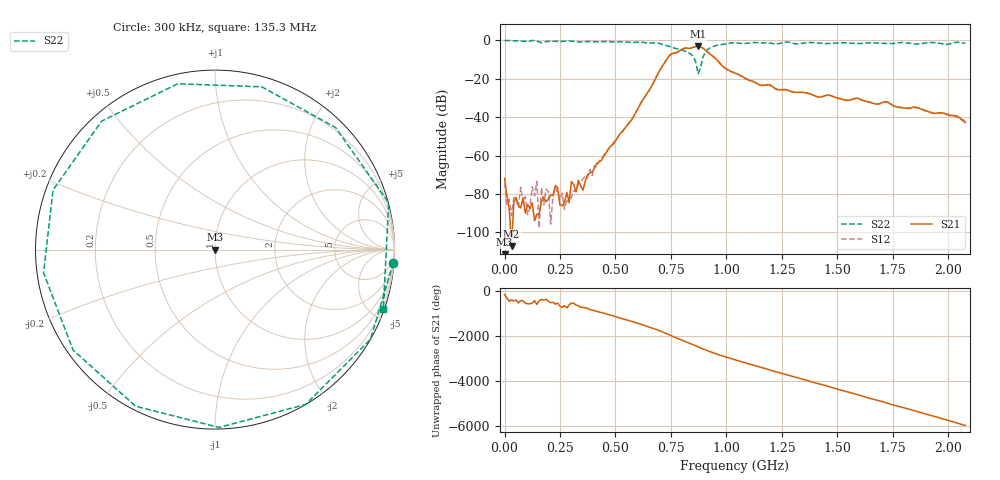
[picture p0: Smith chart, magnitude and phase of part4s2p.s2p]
!Agilent Technologies,N5230C,MY48100348,A.08.04.10
!Agilent N5230C: A.08.04.10
!Date: Saturday, November 08, 2025 09:29:41
!Correction: S11(Off)
!S21(Off)
!S12(Off)
!S22(Off)
!S2P File: Measurements: S11, S21, S12, S22:
# Hz S  dB  R 50
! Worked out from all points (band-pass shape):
!   201 points, 300 kHz to 2.077 GHz, reference 50 ohm
!   highest |S21| = -2.98 dB at 872.4 MHz (marker M1); lowest = -107.2 dB at 31.45 MHz (marker M2)
!   |S21| within 3 dB of the highest: 781.5 MHz to 913.9 MHz (132.4 MHz wide, 15.6 % of centre)
!   lowest |S11| = - dB at 300 kHz (marker M3), VSWR 1.00, Z = 50 + j7.07e-09 ohm
!   |S11| at or under -10 dB: start of sweep to end of sweep
!   |S22| runs from -17.4 to 0.0 dB; largest |S21 - S12| = 0.047
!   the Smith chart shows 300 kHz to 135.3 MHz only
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300000  -200.00 45.0  -71.83 -144.5  -74.22 173.0  -0.03 -4.2
3.144759e7  -200.00 45.0  -107.16 -18.6  -91.14 -47.5  -0.08 -88.7
9.374277e7  -200.00 45.0  -89.97 -178.3  -81.25 -173.7  -0.47 102.7
2.910108e8  -200.00 45.0  -84.09 116.5  -84.76 -66.0  -0.21 -90.8
3.53306e8  -200.00 45.0  -77.97 1.7  -72.13 25.0  -0.69 99.5
4.156012e8  -200.00 45.0  -64.05 -172.5  -65.81 -163.6  -0.71 -79.9
4.778964e8  -200.00 45.0  -55.07 13.9  -55.16 14.2  -0.65 107.1
5.401915e8  -200.00 45.0  -46.04 -170.9  -46.05 -167.5  -0.67 -79.5
6.959295e8  -200.00 45.0  -16.33 48.9  -16.36 50.2  -1.49 135.1
8.724325e8  -200.00 45.0  -2.98 39.9  -3.00 43.0  -17.37 58.0
9.762578e8  -200.00 45.0  -12.67 9.6  -12.46 14.3  -2.17 -82.8
1.038553e9  -200.00 45.0  -17.01 -175.4  -16.73 -169.7  -1.16 94.2
1.100848e9  -200.00 45.0  -20.70 -0.4  -20.44 4.6  -1.39 -96.6
1.163143e9  -200.00 45.0  -23.43 -174.8  -23.39 -169.5  -1.26 94.3
1.329264e9  -200.00 45.0  -26.92 74.8  -27.01 79.8  -1.70 -14.3
1.391559e9  -200.00 45.0  -28.49 -106.4  -28.53 -100.9  -1.09 168.4
1.453854e9  -200.00 45.0  -28.43 86.8  -28.48 92.9  -1.60 -0.9
1.516149e9  -200.00 45.0  -30.42 -93.8  -30.49 -86.8  -1.18 -179.6
1.609592e9  -200.00 45.0  -31.05 3.2  -30.86 9.3  -1.55 -83.5
1.68227e9  -200.00 45.0  -33.17 167.5  -33.09 173.3  -1.35 90.0
1.734182e9  -200.00 45.0  -32.71 11.6  -32.53 19.0  -1.62 -69.0
2.076806e9  -200.00 45.0  -42.71 128.7  -42.15 135.8  -1.48 70.8
